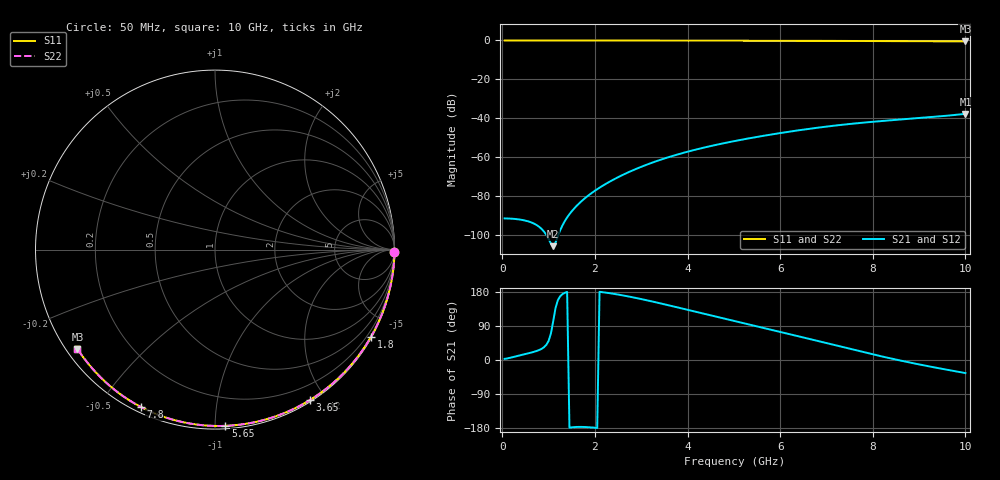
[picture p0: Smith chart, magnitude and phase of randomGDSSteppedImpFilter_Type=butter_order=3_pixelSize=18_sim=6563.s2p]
! freq	dB(S11)	phase(S11)	dB(S12)	phase(S12)
!  dB(S21)	phase(S21)	dB(S22)	phase(S22)
!S-par simulation data
#  GHz  S  DB  R 50
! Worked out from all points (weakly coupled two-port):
!   200 points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, 50 MHz to 10 GHz, reference 50 ohm
!   highest |S21| = -37.75 dB at 10 GHz (marker M1); lowest = -105.8 dB at 1.1 GHz (marker M2)
!   lowest |S11| = -0.5 dB at 10 GHz (marker M3), VSWR 35.46, Z = 1.56 - j16.1 ohm
!   |S11| at or under -10 dB: nowhere
!   |S22| runs from -0.5 to 0.0 dB; largest |S21 - S12| = 0
!   S11 on the Smith chart (normalised r, x): 50 MHz: open; 1.8 GHz: 0.03, -3.83; 3.65 GHz: 0.02, -1.81; 5.65 GHz: 0.02, -1.06; 7.8 GHz: 0.02, -0.63; 10 GHz: 0.03, -0.32
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0.05  -0.00 -0.8  -91.55 3.0  -91.55 3.0  -0.00 -0.8
0.55  -0.01 -9.1  -93.00 17.2  -93.00 17.2  -0.01 -9.1
1.1  -0.02 -18.0  -105.83 102.6  -105.83 102.6  -0.02 -18.0
1.75  -0.04 -28.5  -81.86 -176.6  -81.86 -176.6  -0.04 -28.5
1.8  -0.04 -29.2  -80.86 -176.9  -80.86 -176.9  -0.04 -29.3
1.85  -0.04 -30.0  -79.92 -177.2  -79.92 -177.2  -0.04 -30.1
2  -0.04 -32.4  -77.31 -178.7  -77.31 -178.7  -0.04 -32.4
2.15  -0.04 -34.8  -75.00 179.2  -75.00 179.2  -0.04 -34.8
2.55  -0.05 -41.1  -69.74 171.6  -69.74 171.6  -0.05 -41.1
2.95  -0.06 -47.2  -65.49 162.1  -65.49 162.1  -0.06 -47.3
3.4  -0.07 -54.1  -61.51 149.9  -61.51 149.9  -0.07 -54.1
3.65  -0.08 -57.9  -59.61 142.7  -59.61 142.7  -0.08 -57.9
4.3  -0.10 -67.5  -55.43 123.6  -55.43 123.6  -0.10 -67.5
5.05  -0.12 -78.2  -51.59 101.6  -51.59 101.6  -0.12 -78.3
5.65  -0.14 -86.6  -49.01 84.3  -49.01 84.3  -0.14 -86.6
6.15  -0.16 -93.5  -47.10 69.8  -47.10 69.8  -0.17 -93.5
6.7  -0.19 -100.8  -45.23 53.5  -45.23 53.5  -0.19 -100.9
7.25  -0.23 -108.1  -43.61 37.0  -43.61 37.0  -0.23 -108.2
7.8  -0.27 -115.3  -42.27 20.7  -42.27 20.7  -0.27 -115.4
8.35  -0.32 -122.5  -41.14 5.2  -41.14 5.2  -0.32 -122.5
9.15  -0.40 -132.9  -39.65 -15.3  -39.65 -15.3  -0.40 -132.9
10  -0.49 -144.2  -37.75 -34.5  -37.75 -34.5  -0.49 -144.2
